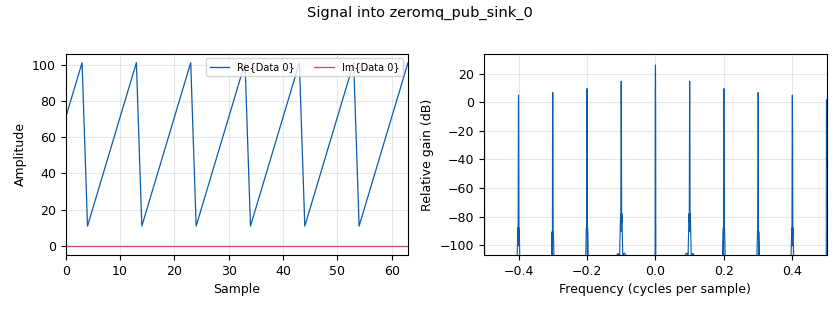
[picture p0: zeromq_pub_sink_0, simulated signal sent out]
options:
  parameters:
    generate_options: qt_gui
    id: pruebitas3
    output_language: python
    title: prueba3
  states: {}

blocks:
- name: samp_rate
  id: variable
  parameters:
    value: '50000'
  states: {}
- name: blocks_vector_to_stream_0
  id: blocks_vector_to_stream
  parameters:
    num_items: '1'
    type: complex
    vlen: '10'
  states: {}
- name: epy_block_0
  id: epy_block
  parameters:
    _source_code: |
      """
      Embedded Python Blocks:

      Each time this file is saved, GRC will instantiate the first class it finds
      to get ports and parameters of your block. The arguments to __init__  will
      be the parameters. All of them are required to have default values!
      """

      import numpy as np
      from gnuradio import gr


      class blk(gr.sync_block):  # other base classes are basic_block, decim_block, interp_block
          """Embedded Python Block example - a simple multiply const"""

          def __init__(self, example_param=1.0):  # only default arguments here
              """arguments to this function show up as parameters in GRC"""
              gr.sync_block.__init__(
                  self,
                  name='Embedded Python Block',   # will show up in GRC
                  in_sig=[],
                  out_sig=[(np.complex64, 10)]
              )
              # if an attribute with the same name as a parameter is found,
              # a callback is registered (properties work, too).
              self.example_param = example_param
              self.lim = 5
              self.arr = [11, 21, 31, 41, 51, 61, 71, 81, 91, 101]

          def work(self, input_items, output_items):
              """example: multiply with constant"""
              output_items[0][:] = self.arr
              if self.lim > 0:
                      print("pub: ", self.arr)
                      self.lim = self.lim-1
              return 10
    example_param: '1.0'
  states: {}
- name: zeromq_pub_sink_0
  id: zeromq_pub_sink
  parameters:
    address: tcp://127.0.0.1:5606
    timeout: '100'
    type: complex
    vlen: '10'
  states: {}

connections:
- [blocks_vector_to_stream_0, '0', zeromq_pub_sink_0, '0']
- [epy_block_0, '0', blocks_vector_to_stream_0, '0']

metadata:
  file_format: 1
